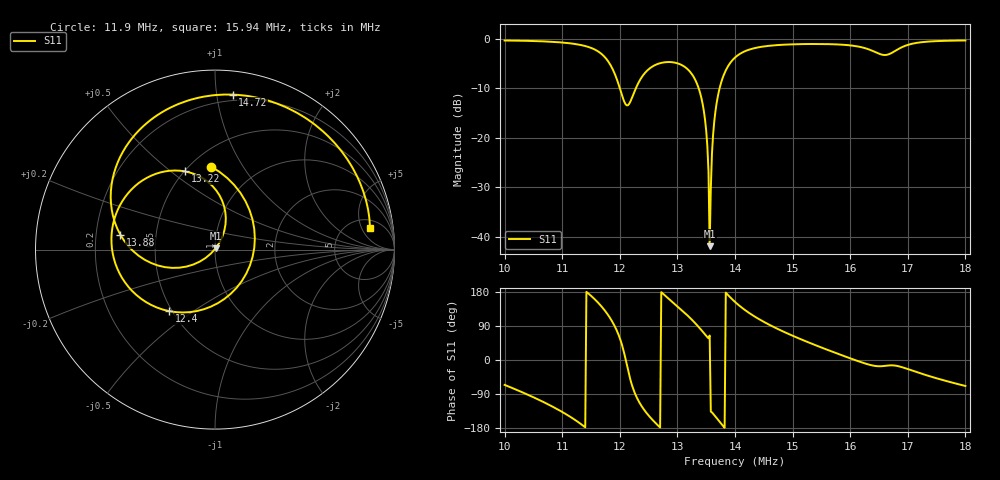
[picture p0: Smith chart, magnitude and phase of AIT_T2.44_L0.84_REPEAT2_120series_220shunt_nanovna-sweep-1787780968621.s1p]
! NanoVNA Web complex sweep
! Processing: original sample grid, no browser smoothing
# Hz S RI R 50
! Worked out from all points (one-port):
!   401 points, 10 MHz to 18 MHz, reference 50 ohm
!   lowest |S11| = -42.0 dB at 13.56 MHz (marker M1), VSWR 1.02, Z = 50.3 + j0.727 ohm
!   |S11| at or under -10 dB: 12 MHz to 12.28 MHz (275.7 kHz wide, 2.27 % of centre); 13.37 MHz to 13.73 MHz (362.2 kHz wide, 2.67 % of centre)
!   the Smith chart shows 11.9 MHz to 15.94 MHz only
!   S11 on the Smith chart (normalised r, x): 11.9 MHz: 0.63, +0.74; 12.4 MHz: 0.48, -0.41; 13.22 MHz: 0.50, +0.56; 13.88 MHz: 0.31, +0.07; 14.72 MHz: 0.16, +1.11; 15.94 MHz: 7, +7
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1e7  0.3985 -0.8829
1.054e7  -0.1841 -0.9377
1.1e7  -0.6763 -0.6294
1.15e7  -0.8017 0.1491
1.174e7  -0.4267 0.4996
1.19e7  -0.0215 0.4621
1.2e7  0.1699 0.2696
1.214e7  0.1943 -0.0891
1.24e7  -0.2549 -0.3428
1.268e7  -0.564 -0.0477
1.3e7  -0.4463 0.3532
1.322e7  -0.1674 0.4358
1.344e7  0.0574 0.2099
1.356e7  0.00341 0.00722
1.36e7  -0.0515 -0.046
1.364e7  -0.1207 -0.0831
1.368e7  -0.1985 -0.1008
1.388e7  -0.5266 0.0819
1.4e7  -0.5811 0.2927
1.434e7  -0.3407 0.7357
1.472e7  0.0978 0.8635
1.5e7  0.3875 0.7964
1.548e7  0.7385 0.5011
1.594e7  0.8635 0.1177
1.6e7  0.8596 0.0655
1.658e7  0.665 -0.1897
1.7e7  0.7991 -0.3539
1.8e7  0.3548 -0.9024
